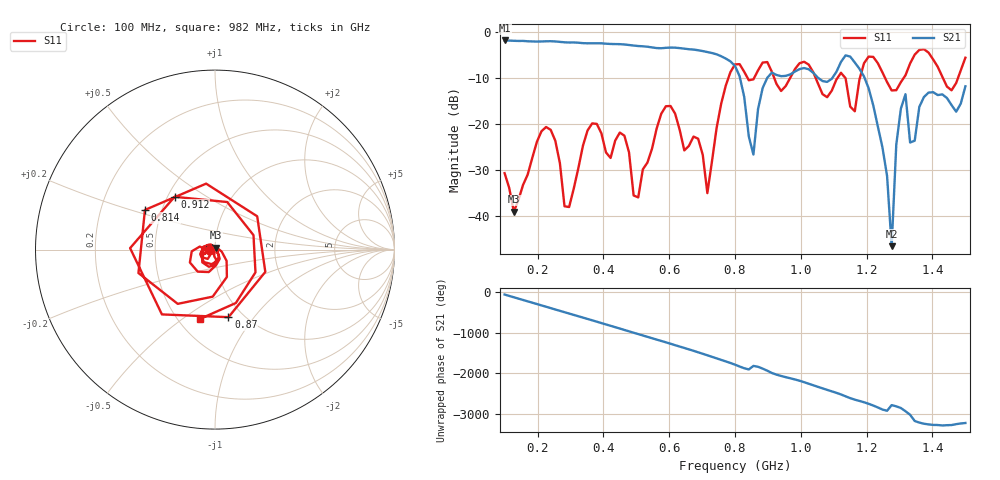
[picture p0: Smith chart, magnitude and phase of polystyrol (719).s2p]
! NanoVNA-App
! Date: 2025-09-25 15:35:28
! Start: 100MHz Stop: 1,5GHz Points: 101
! S-Parameter data: F S11 S21 S12 S22
# Hz S RI R 50
!  Frequency  S11_Real  S11_Imag  S21_Real  S21_Imag  S12_Real  S12_Imag  S22_Real  S22_Imag
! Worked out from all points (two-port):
!   101 points, 100 MHz to 1.5 GHz, reference 50 ohm
!   highest |S21| = -1.80 dB at 100 MHz (marker M1); lowest = -46.6 dB at 1.276 GHz (marker M2)
!   |S21| within 3 dB of the highest: start of sweep to 743.2 MHz
!   lowest |S11| = -39.1 dB at 128 MHz (marker M3), VSWR 1.02, Z = 50.3 + j1.06 ohm
!   |S11| at or under -10 dB: start of sweep to 779.8 MHz; 1.045 GHz to 1.111 GHz (65.86 MHz wide, 6.11 % of centre); 1.136 GHz to 1.179 GHz (43.68 MHz wide, 3.77 % of centre) (the widest 3 of 7)
!   S12 and S22 are empty: the file has one direction only
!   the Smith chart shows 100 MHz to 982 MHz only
!   S11 on the Smith chart (normalised r, x): 100 MHz: 0.94, -0.01; 814 MHz: 0.40, +0.22; 870 MHz: 0.86, -0.76; 912 MHz: 0.54, +0.37; 982 MHz: 0.64, -0.58
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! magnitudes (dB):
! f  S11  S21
! 100 MHz  -30.7  -1.8
! 128 MHz  -39.1  -1.9
! 212 MHz  -21.6  -2.0
! 282 MHz  -37.9  -2.2
! 338 MHz  -24.7  -2.4
! 464 MHz  -22.5  -2.7
! 506 MHz  -36.0  -3.0
! 576 MHz  -17.7  -3.5
! 716 MHz  -35.1  -4.3
! 800 MHz  -7.0  -7.4
! 814 MHz  -7.0  -9.6
! 856 MHz  -10.3  -26.7
! 870 MHz  -8.3  -16.8
! 912 MHz  -8.6  -8.8
! 982 MHz  -8.0  -8.6
! 1.038 GHz  -8.8  -8.9
! 1.192 GHz  -6.8  -9.7
! 1.276 GHz  -12.7  -46.6
! 1.29 GHz  -12.6  -24.5
! 1.318 GHz  -9.4  -13.5
! 1.332 GHz  -6.8  -24.0
! 1.5 GHz  -5.6  -11.8
